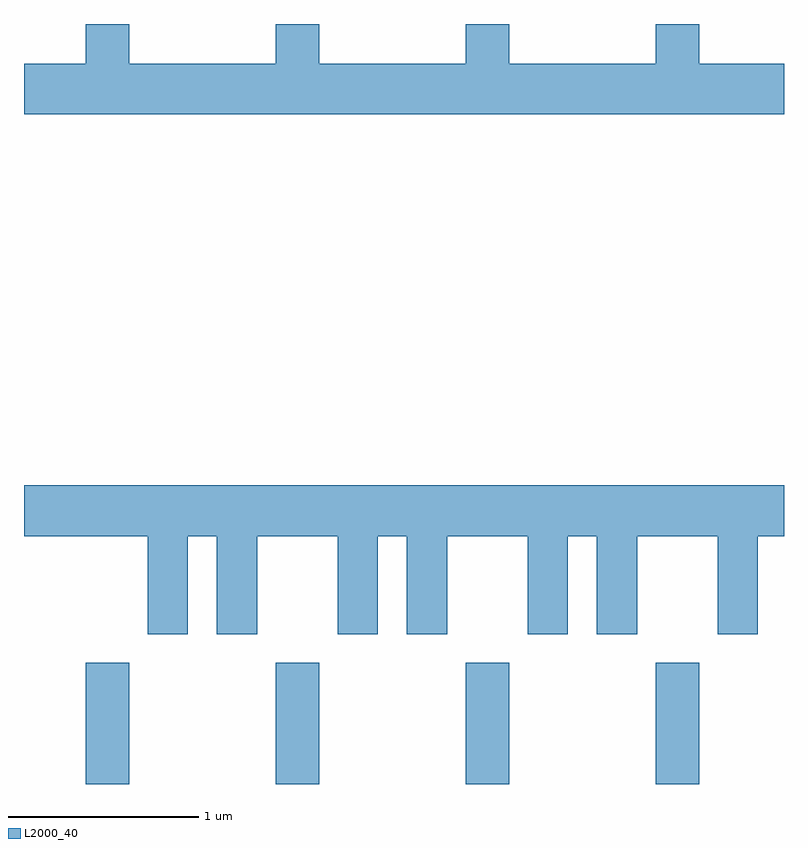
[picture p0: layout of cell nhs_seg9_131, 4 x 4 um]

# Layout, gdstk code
import gdstk
lib = gdstk.Library(unit=1e-6, precision=1e-09)
def R(c, l, rs):  # rectangles x0, y0, x1, y1
    for r in rs: c.add(gdstk.rectangle(r[:2], r[2:], *l))
def A(c, l, x, y, w, h, nx, ny, dx, dy):  # array of equal rectangles
    R(c, l, [(x+i*dx, y+j*dy, x+i*dx+w, y+j*dy+h) for i in range(nx) for j in range(ny)])
def P(c, l, *ps):  # polygons
    for p in ps: c.add(gdstk.Polygon(p, *l))
L2000_40 = (2000, 40)

nhs_seg9_131 = lib.new_cell('nhs_seg9_131')
A(nhs_seg9_131, L2000_40, 187.936, 2070.432, 0.228, 0.637, 4, 1, 1, 0)
P(nhs_seg9_131, L2000_40, [(191.611,2074.224),(191.164,2074.224),(191.164,2074.432),(190.936,2074.432),(190.936,2074.224),(190.164,2074.224),(190.164,2074.432),(189.936,2074.432),(189.936,2074.224),(189.164,2074.224),(189.164,2074.432),(188.936,2074.432),(188.936,2074.224),(188.164,2074.224),(188.164,2074.432),(187.936,2074.432),(187.936,2074.224),(187.611,2074.224),(187.611,2073.956),(191.611,2073.956)],
  [(188.474,2071.736),(188.626,2071.736),(188.626,2071.221),(188.839,2071.221),(188.839,2071.736),(189.261,2071.736),(189.261,2071.221),(189.474,2071.221),(189.474,2071.736),(189.626,2071.736),(189.626,2071.221),(189.839,2071.221),(189.839,2071.736),(190.261,2071.736),(190.261,2071.221),(190.474,2071.221),(190.474,2071.736),(190.626,2071.736),(190.626,2071.221),(190.839,2071.221),(190.839,2071.736),(191.261,2071.736),(191.261,2071.221),(191.474,2071.221),(191.474,2071.736),(191.611,2071.736),(191.611,2072.004),(187.611,2072.004),(187.611,2071.736),(188.261,2071.736),(188.261,2071.221),(188.474,2071.221)])

lib.write_gds('nhs_seg9_131.gds')
